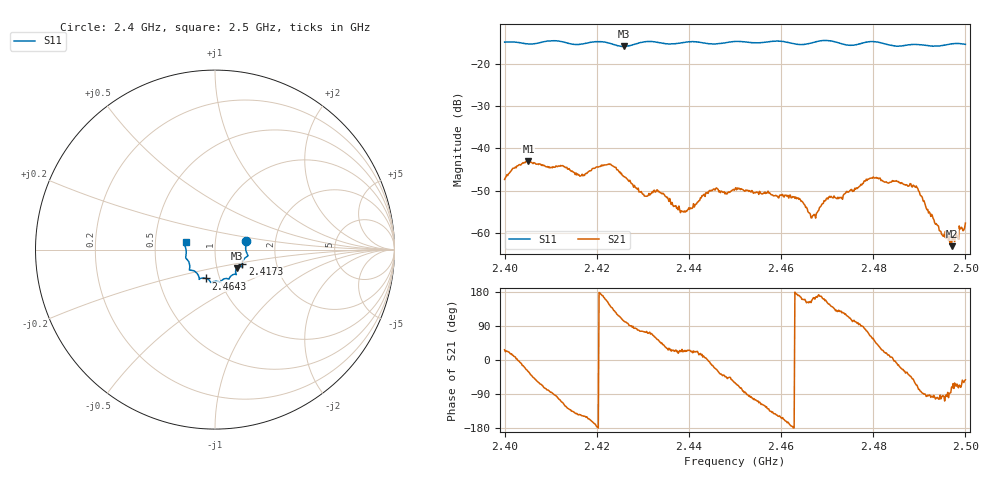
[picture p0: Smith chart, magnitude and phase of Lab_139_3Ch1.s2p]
# Hz S RI R 50
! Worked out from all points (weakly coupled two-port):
!   601 points, 2.4 GHz to 2.5 GHz, reference 50 ohm
!   highest |S21| = -43.04 dB at 2.4052 GHz (marker M1); lowest = -63.2 dB at 2.497 GHz (marker M2)
!   lowest |S11| = -15.9 dB at 2.4258 GHz (marker M3), VSWR 1.38, Z = 62.3 - j13.2 ohm
!   |S11| at or under -10 dB: start of sweep to end of sweep
!   S12 and S22 are empty: the file has one direction only
!   S11 on the Smith chart (normalised r, x): 2.4 GHz: 1.41, +0.14; 2.4173 GHz: 1.34, -0.23; 2.4643 GHz: 0.86, -0.28; 2.5 GHz: 0.72, +0.06
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2.4e9  0.1732 0.0486  0.00381 0.00194  0 0  0 0
2.405167e9  0.1706 0.0121  0.00605 -0.00362  0 0  0 0
2.412667e9  0.1767 -0.0398  -0.00246 -0.0057  0 0  0 0
2.416667e9  0.153 -0.0746  -0.00397 -0.00262  0 0  0 0
2.417333e9  0.152 -0.0822  -0.00404 -0.00253  0 0  0 0
2.4225e9  0.1488 -0.0948  -0.00558 0.00322  0 0  0 0
2.425833e9  0.1217 -0.1034  -0.00107 0.00451  0 0  0 0
2.4305e9  0.1183 -0.1379  0.000777 0.0026  0 0  0 0
2.433333e9  0.1129 -0.1374  0.00182 0.00246  0 0  0 0
2.438667e9  0.0805 -0.1581  0.00166 0.000655  0 0  0 0
2.444833e9  0.0569 -0.1616  0.00314 -0.0006  0 0  0 0
2.45e9  0.0288 -0.181  0.00166 -0.00285  0 0  0 0
2.464333e9  -0.0497 -0.1606  -0.00228 0.000592  0 0  0 0
2.466667e9  -0.0759 -0.1593  -0.00138 0.000578  0 0  0 0
2.470333e9  -0.088 -0.1653  -0.00223 0.00142  0 0  0 0
2.473e9  -0.0911 -0.1468  -0.00164 0.00201  0 0  0 0
2.479e9  -0.1408 -0.1147  0.00149 0.00406  0 0  0 0
2.483333e9  -0.1407 -0.0899  0.00376 0.000898  0 0  0 0
2.489167e9  -0.1629 -0.0446  0.0016 -0.00306  0 0  0 0
2.494833e9  -0.1632 0.00785  -0.000136 -0.00095  0 0  0 0
2.497e9  -0.1695 0.027  0.000221 -0.00066  0 0  0 0
2.5e9  -0.1638 0.0427  0.000797 -0.00103  0 0  0 0
